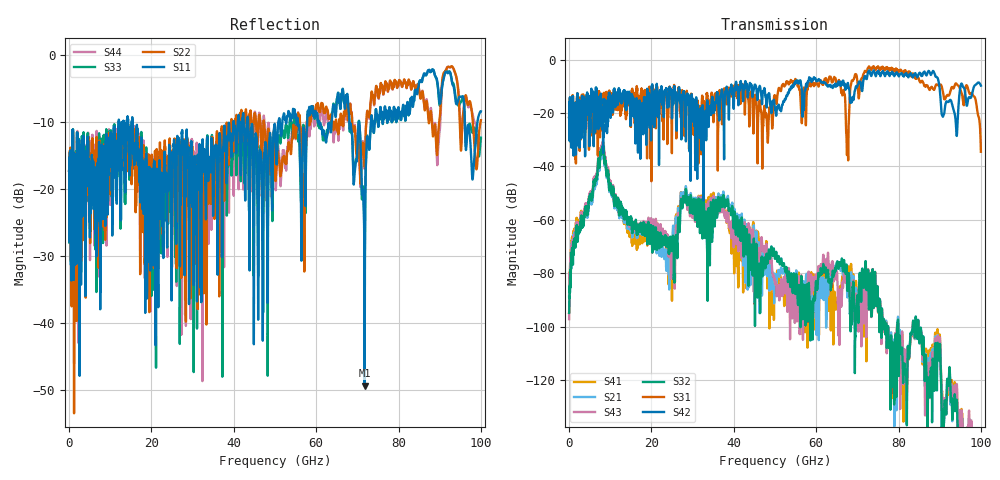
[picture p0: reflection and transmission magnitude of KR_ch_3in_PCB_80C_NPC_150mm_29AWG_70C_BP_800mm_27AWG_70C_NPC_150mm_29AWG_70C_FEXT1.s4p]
# GHz S RI R 45
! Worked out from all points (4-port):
!   4000 points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, 25 MHz to 100 GHz, reference 45 ohm
!   strongest paths, dB at 25 MHz, 25.02 GHz, 50.02 GHz, 75.03 GHz, 100 GHz:
!     S42: -21.8, -20.6, -18.8, -4.2, -9.7
!     S31: -21.7, -20.7, -13.7, -2.5, -34.5
!     S32: -94.9, -67.9, -74.6, -93.6, -151.3
!     S43: -97.2, -73.3, -83.6, -93.8, -145.3
!     S21: -88.8, -69.2, -82.8, -93.6, -151.9
!     S41: -94.7, -79.0, -80.9, -93.8, -146.7
!   lowest |S11| = -49.4 dB at 71.78 GHz (marker M1), VSWR 1.01, Z = 44.8 + j0.239 ohm
!   |S11| at or under -10 dB: start of sweep to 12.09 GHz; 15.46 GHz to 39.95 GHz (24.5 GHz wide, 88.4 % of centre); 43.48 GHz to 50.8 GHz (7.317 GHz wide, 15.5 % of centre)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
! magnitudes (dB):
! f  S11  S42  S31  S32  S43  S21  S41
! 25 MHz  -17.2  -21.8  -21.7  -94.9  -97.2  -88.8  -94.7
! 8.025 GHz  -16.0  -26.0  -18.2  -33.3  -31.7  -34.9  -33.3
! 24.6 GHz  -19.8  -12.8  -13.1  -66.8  -69.9  -69.5  -74.4
! 28.05 GHz  -32.9  -15.9  -28.6  -52.0  -52.0  -51.4  -51.1
! 67.6 GHz  -5.8  -9.1  -30.1  -86.6  -84.8  -87.6  -81.5
! 71.78 GHz  -49.4  -6.2  -4.4  -79.4  -83.2  -80.4  -84.5
! 100 GHz  -8.4  -9.7  -34.5  -151.3  -145.3  -151.9  -146.7
